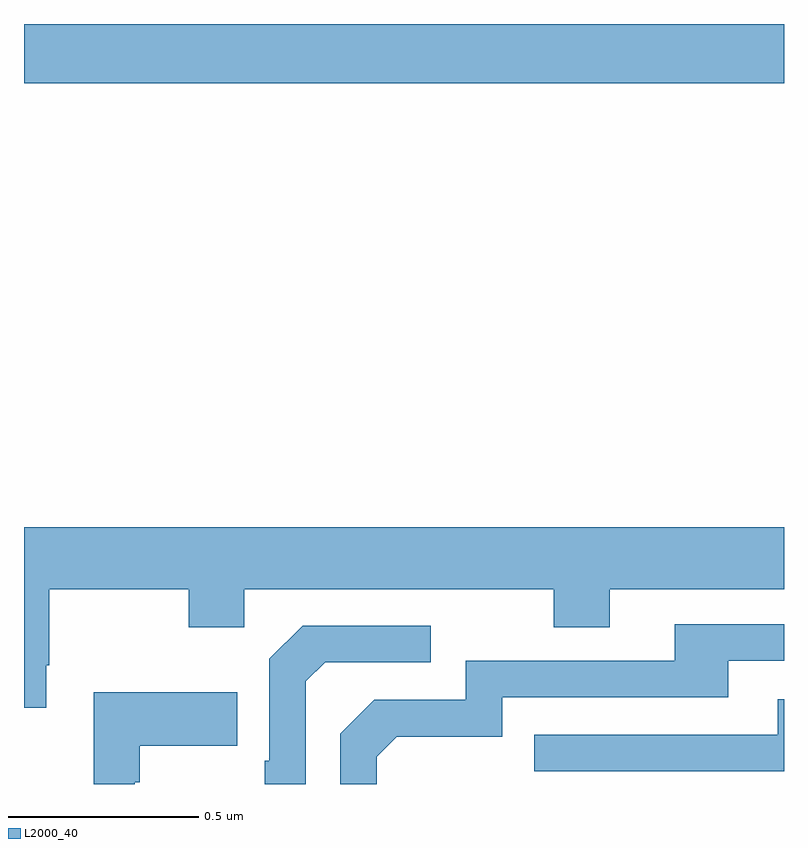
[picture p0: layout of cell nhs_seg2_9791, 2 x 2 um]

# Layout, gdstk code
import gdstk
lib = gdstk.Library(unit=1e-6, precision=1e-09)
def R(c, l, rs):  # rectangles x0, y0, x1, y1
    for r in rs: c.add(gdstk.rectangle(r[:2], r[2:], *l))
def P(c, l, *ps):  # polygons
    for p in ps: c.add(gdstk.Polygon(p, *l))
L2000_40 = (2000, 40)

nhs_seg2_9791 = lib.new_cell('nhs_seg2_9791')
R(nhs_seg2_9791, L2000_40, [(233,639.644,235,639.8)])
P(nhs_seg2_9791, L2000_40, [(233.059,638.113),(233.067,638.113),(233.067,638.312),(233.434,638.312),(233.434,638.213),(233.58,638.213),(233.58,638.312),(234.394,638.312),(234.394,638.213),(234.541,638.213),(234.541,638.312),(235,638.312),(235,638.476),(233,638.476),(233,638.001),(233.059,638.001)],
  [(233.928,637.872),(233.981,637.925),(234.258,637.925),(234.258,638.028),(234.853,638.028),(234.853,638.124),(235,638.124),(235,638.22),(234.713,638.22),(234.713,638.124),(234.162,638.124),(234.162,638.022),(233.922,638.022),(233.832,637.932),(233.832,637.8),(233.928,637.8)],
  [(233.742,638.07),(233.793,638.121),(234.07,638.121),(234.07,638.217),(233.733,638.217),(233.646,638.13),(233.646,637.861),(233.634,637.861),(233.634,637.8),(233.742,637.8)],
  [(233.292,637.805),(233.305,637.805),(233.305,637.901),(233.561,637.901),(233.561,638.041),(233.184,638.041),(233.184,637.8),(233.292,637.8)],
  [(235,638.023),(234.983,638.023),(234.983,637.929),(234.343,637.929),(234.343,637.833),(235,637.833)])

lib.write_gds('nhs_seg2_9791.gds')
